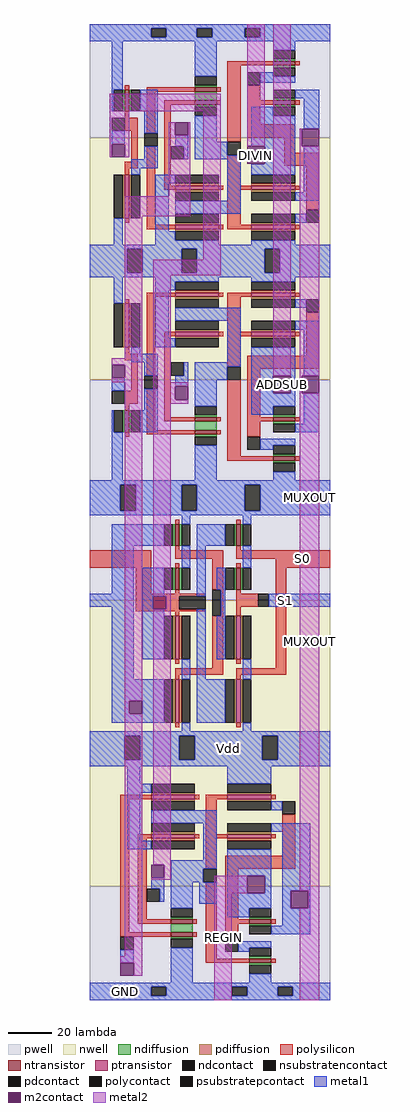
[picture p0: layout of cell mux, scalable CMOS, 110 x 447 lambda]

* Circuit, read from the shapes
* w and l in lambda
.subckt mux ADDSUB DIVIN GND MUXOUT REGIN S0 S1 Vdd
M1 n1 n2 GND GND nfet w=10 l=2
M2 n3 n4 GND GND nfet w=10 l=2
M3 n5 n2 GND GND nfet w=10 l=2
M4 n6 n4 n5 GND nfet w=10 l=2
M5 GND n7 n4 GND nfet w=10 l=2
M6 GND n8 n2 GND nfet w=10 l=2
M7 n9 n1 GND GND nfet w=10 l=2
M8 n10 n4 n9 GND nfet w=10 l=2
M9 n11 n2 n12 GND nfet w=10 l=2
M10 GND n3 n11 GND nfet w=10 l=2
M11 GND S1 n8 GND nfet w=10 l=2
M12 GND S0 n7 GND nfet w=10 l=2
M13 n13 n6 GND GND nfet w=10 l=2
M14 REGIN n13 MUXOUT GND nfet w=10 l=2
M15 n14 n10 GND GND nfet w=10 l=2
M16 ADDSUB n14 MUXOUT GND nfet w=10 l=2
M17 MUXOUT n15 DIVIN GND nfet w=10 l=2
M18 GND n12 n15 GND nfet w=10 l=2
M19 n1 n2 n16 n16 pfet w=20 l=2
M20 n3 n4 n16 n16 pfet w=20 l=2
M21 n6 n4 Vdd Vdd pfet w=20 l=2
M22 Vdd n2 n6 Vdd pfet w=20 l=2
M23 Vdd n8 n2 Vdd pfet w=20 l=2
M24 Vdd n7 n4 Vdd pfet w=20 l=2
M25 n10 n4 n16 n16 pfet w=20 l=2
M26 n16 n1 n10 n16 pfet w=20 l=2
M27 n12 n3 n16 n16 pfet w=20 l=2
M28 n16 n2 n12 n16 pfet w=20 l=2
M29 MUXOUT n6 REGIN Vdd pfet w=20 l=2
M30 Vdd n6 n13 Vdd pfet w=20 l=2
M31 Vdd S0 n7 Vdd pfet w=20 l=2
M32 Vdd S1 n8 Vdd pfet w=20 l=2
M33 MUXOUT n10 ADDSUB n16 pfet w=20 l=2
M34 n16 n10 n14 n16 pfet w=20 l=2
M35 n15 n12 n16 n16 pfet w=20 l=2
M36 DIVIN n12 MUXOUT n16 pfet w=20 l=2
.ends

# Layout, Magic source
magic
tech scmos
<< pwell >>
rect 0 395 110 447
rect 0 183 110 284
rect 0 0 110 52
<< nwell >>
rect 0 284 110 395
rect 0 52 110 183
<< polysilicon >>
rect 63 428 84 430
rect 94 428 96 430
rect 16 417 18 419
rect 26 416 48 418
rect 58 416 60 418
rect 16 404 18 407
rect 16 398 22 404
rect 19 384 22 398
rect 26 397 30 416
rect 34 410 48 412
rect 58 410 60 412
rect 16 381 22 384
rect 16 378 18 381
rect 16 356 18 358
rect 26 355 30 391
rect 34 373 37 410
rect 63 393 69 428
rect 72 412 78 419
rect 72 410 84 412
rect 94 410 96 412
rect 72 401 78 410
rect 72 395 94 401
rect 63 373 69 387
rect 89 388 94 395
rect 89 382 105 388
rect 34 371 39 373
rect 59 371 61 373
rect 63 371 74 373
rect 94 371 96 373
rect 63 355 69 371
rect 99 362 105 382
rect 26 353 39 355
rect 59 353 61 355
rect 63 353 74 355
rect 94 353 96 355
rect 26 322 39 324
rect 59 322 61 324
rect 63 322 74 324
rect 94 322 96 324
rect 16 319 18 321
rect 16 296 18 299
rect 16 293 22 296
rect 19 279 22 293
rect 26 286 30 322
rect 63 306 69 322
rect 34 304 39 306
rect 59 304 61 306
rect 63 304 74 306
rect 94 304 96 306
rect 16 273 22 279
rect 16 270 18 273
rect 26 261 30 280
rect 34 267 37 304
rect 63 290 69 304
rect 99 295 105 315
rect 34 265 48 267
rect 58 265 60 267
rect 16 258 18 260
rect 26 259 48 261
rect 58 259 60 261
rect 63 249 69 284
rect 72 289 105 295
rect 72 267 78 289
rect 72 265 84 267
rect 94 265 96 267
rect 72 258 78 265
rect 63 247 84 249
rect 94 247 96 249
rect 39 218 41 220
rect 67 218 69 220
rect 39 206 41 208
rect 67 206 69 208
rect 0 198 28 206
rect 39 202 61 206
rect 67 202 110 206
rect 39 198 41 200
rect 21 186 28 198
rect 56 188 61 202
rect 67 198 69 200
rect 85 198 110 202
rect 39 186 41 188
rect 21 185 53 186
rect 21 179 41 185
rect 21 178 53 179
rect 39 176 41 178
rect 60 176 61 188
rect 67 186 69 188
rect 67 180 77 186
rect 67 176 69 180
rect 39 154 41 156
rect 56 152 61 176
rect 67 154 69 156
rect 85 152 90 198
rect 39 149 61 152
rect 67 149 90 152
rect 39 147 41 149
rect 67 147 69 149
rect 39 125 41 127
rect 67 125 69 127
rect 14 92 28 94
rect 48 92 50 94
rect 53 92 63 94
rect 83 92 85 94
rect 14 31 18 92
rect 53 76 58 92
rect 22 74 28 76
rect 48 74 50 76
rect 53 74 63 76
rect 83 74 85 76
rect 22 37 26 74
rect 53 60 58 74
rect 88 66 94 85
rect 22 35 37 37
rect 47 35 49 37
rect 14 29 37 31
rect 47 29 49 31
rect 53 19 58 54
rect 62 60 94 66
rect 62 37 68 60
rect 62 35 73 37
rect 83 35 85 37
rect 62 28 68 35
rect 53 17 73 19
rect 83 17 85 19
<< ndiffusion >>
rect 84 430 94 431
rect 48 418 58 419
rect 15 407 16 417
rect 18 407 19 417
rect 48 412 58 416
rect 48 409 58 410
rect 84 427 94 428
rect 84 412 94 413
rect 84 409 94 410
rect 15 260 16 270
rect 18 260 19 270
rect 48 267 58 268
rect 48 261 58 265
rect 48 258 58 259
rect 84 267 94 268
rect 84 264 94 265
rect 84 249 94 250
rect 84 246 94 247
rect 38 208 39 218
rect 41 208 42 218
rect 66 208 67 218
rect 69 208 70 218
rect 38 188 39 198
rect 41 188 42 198
rect 66 188 67 198
rect 69 188 70 198
rect 37 37 47 38
rect 37 31 47 35
rect 37 28 47 29
rect 73 37 83 38
rect 73 34 83 35
rect 73 19 83 20
rect 73 16 83 17
<< pdiffusion >>
rect 15 358 16 378
rect 18 358 19 378
rect 39 373 59 374
rect 74 373 94 374
rect 39 370 59 371
rect 39 355 59 356
rect 74 370 94 371
rect 74 355 94 356
rect 39 352 59 353
rect 74 352 94 353
rect 39 324 59 325
rect 74 324 94 325
rect 15 299 16 319
rect 18 299 19 319
rect 39 321 59 322
rect 39 306 59 307
rect 74 321 94 322
rect 74 306 94 307
rect 39 303 59 304
rect 74 303 94 304
rect 38 156 39 176
rect 41 156 42 176
rect 66 156 67 176
rect 69 156 70 176
rect 38 127 39 147
rect 41 127 42 147
rect 66 127 67 147
rect 69 127 70 147
rect 28 94 48 95
rect 63 94 83 95
rect 28 91 48 92
rect 28 76 48 77
rect 63 91 83 92
rect 63 76 83 77
rect 28 73 48 74
rect 63 73 83 74
<< metal1 >>
rect 0 445 110 447
rect 0 441 28 445
rect 35 441 49 445
rect 56 441 71 445
rect 78 441 110 445
rect 0 439 110 441
rect 10 417 15 439
rect 48 423 58 439
rect 84 435 94 439
rect 78 423 84 425
rect 78 420 94 423
rect 10 407 11 417
rect 23 407 31 417
rect 94 413 105 417
rect 10 392 16 398
rect 25 397 31 407
rect 39 391 45 396
rect 25 385 31 391
rect 43 385 45 391
rect 48 393 58 405
rect 74 405 84 409
rect 48 387 63 393
rect 74 391 94 405
rect 98 399 105 413
rect 48 385 69 387
rect 19 381 31 385
rect 19 378 23 381
rect 30 374 39 378
rect 11 346 15 358
rect 30 352 36 374
rect 63 366 69 385
rect 80 383 94 391
rect 74 378 94 383
rect 98 370 105 391
rect 94 366 105 370
rect 39 360 69 366
rect 94 356 99 360
rect 30 348 39 352
rect 30 346 59 348
rect 74 346 94 348
rect 0 344 110 346
rect 0 333 17 344
rect 24 333 42 344
rect 49 333 80 344
rect 87 333 110 344
rect 0 331 110 333
rect 11 319 15 331
rect 30 329 59 331
rect 30 325 39 329
rect 74 329 94 331
rect 30 303 36 325
rect 94 317 99 321
rect 39 311 69 317
rect 30 299 39 303
rect 19 296 23 299
rect 19 292 31 296
rect 63 292 69 311
rect 94 307 105 311
rect 10 279 16 285
rect 25 286 31 292
rect 43 286 45 292
rect 25 270 31 280
rect 39 281 45 286
rect 48 290 69 292
rect 48 284 63 290
rect 74 286 94 299
rect 98 286 105 307
rect 10 260 11 270
rect 23 260 31 270
rect 48 272 58 284
rect 74 278 84 286
rect 92 278 94 286
rect 74 272 94 278
rect 74 268 84 272
rect 98 264 105 278
rect 94 260 105 264
rect 10 238 15 260
rect 48 238 58 254
rect 78 254 94 257
rect 78 252 84 254
rect 84 238 94 242
rect 0 236 110 238
rect 0 224 14 236
rect 21 224 42 236
rect 49 224 71 236
rect 78 224 110 236
rect 0 222 110 224
rect 42 218 46 222
rect 70 218 74 222
rect 10 208 34 218
rect 10 186 20 208
rect 42 198 46 208
rect 0 180 20 186
rect 10 147 20 180
rect 24 185 34 198
rect 49 208 62 218
rect 49 185 53 208
rect 70 198 74 208
rect 58 188 62 198
rect 24 179 29 185
rect 24 156 34 179
rect 42 147 46 156
rect 10 137 34 147
rect 10 131 18 137
rect 24 131 34 137
rect 10 127 34 131
rect 49 147 53 179
rect 60 176 62 188
rect 82 180 110 186
rect 58 156 62 176
rect 70 147 74 156
rect 49 127 62 147
rect 42 123 46 127
rect 70 123 74 127
rect 0 121 110 123
rect 0 110 16 121
rect 23 110 41 121
rect 48 110 79 121
rect 86 110 110 121
rect 0 107 110 110
rect 17 99 23 107
rect 63 99 83 107
rect 17 95 28 99
rect 17 73 23 95
rect 83 87 88 91
rect 28 81 58 87
rect 17 69 28 73
rect 52 64 58 81
rect 83 77 101 81
rect 28 51 34 56
rect 32 45 34 51
rect 37 60 58 64
rect 37 54 52 60
rect 37 42 47 54
rect 50 44 58 54
rect 63 57 83 69
rect 63 49 72 57
rect 80 49 83 57
rect 63 42 83 49
rect 63 38 73 42
rect 88 50 101 77
rect 88 42 92 50
rect 100 42 101 50
rect 88 34 101 42
rect 83 30 101 34
rect 14 17 20 23
rect 37 8 47 24
rect 68 24 83 27
rect 68 22 73 24
rect 73 8 83 12
rect 0 6 110 8
rect 0 2 28 6
rect 35 2 65 6
rect 72 2 86 6
rect 93 2 110 6
rect 0 0 110 2
<< metal2 >>
rect 9 407 60 415
rect 9 392 18 407
rect 9 386 10 392
rect 16 386 18 392
rect 36 396 39 402
rect 45 396 46 402
rect 36 368 46 396
rect 16 359 46 368
rect 16 294 24 359
rect 52 339 60 407
rect 72 391 80 447
rect 10 291 24 294
rect 16 285 24 291
rect 10 283 24 285
rect 16 137 24 283
rect 16 131 18 137
rect 16 20 24 131
rect 29 332 60 339
rect 29 283 37 332
rect 84 286 92 447
rect 29 281 45 283
rect 29 275 39 281
rect 96 391 97 399
rect 96 286 105 391
rect 96 278 97 286
rect 29 273 45 275
rect 29 185 37 273
rect 35 179 37 185
rect 29 62 37 179
rect 34 56 37 62
rect 28 55 37 56
rect 14 17 24 20
rect 20 11 24 17
rect 57 49 72 57
rect 96 50 105 278
rect 57 0 65 49
rect 100 42 105 50
rect 96 0 105 42
<< ntransistor >>
rect 84 428 94 430
rect 16 407 18 417
rect 48 416 58 418
rect 48 410 58 412
rect 84 410 94 412
rect 16 260 18 270
rect 48 265 58 267
rect 48 259 58 261
rect 84 265 94 267
rect 84 247 94 249
rect 39 208 41 218
rect 67 208 69 218
rect 39 188 41 198
rect 67 188 69 198
rect 37 35 47 37
rect 37 29 47 31
rect 73 35 83 37
rect 73 17 83 19
<< ptransistor >>
rect 16 358 18 378
rect 39 371 59 373
rect 74 371 94 373
rect 39 353 59 355
rect 74 353 94 355
rect 39 322 59 324
rect 74 322 94 324
rect 16 299 18 319
rect 39 304 59 306
rect 74 304 94 306
rect 39 156 41 176
rect 67 156 69 176
rect 39 127 41 147
rect 67 127 69 147
rect 28 92 48 94
rect 63 92 83 94
rect 28 74 48 76
rect 63 74 83 76
<< polycontact >>
rect 10 398 16 404
rect 25 391 31 397
rect 72 419 78 425
rect 37 385 43 391
rect 63 387 69 393
rect 99 356 105 362
rect 99 315 105 321
rect 25 280 31 286
rect 10 273 16 279
rect 37 286 43 292
rect 63 284 69 290
rect 72 252 78 258
rect 41 179 53 185
rect 56 176 60 188
rect 77 180 82 186
rect 88 85 94 91
rect 52 54 58 60
rect 26 45 32 51
rect 14 23 20 29
rect 62 22 68 28
<< ndcontact >>
rect 84 431 94 435
rect 48 419 58 423
rect 11 407 15 417
rect 19 407 23 417
rect 48 405 58 409
rect 84 423 94 427
rect 84 413 94 417
rect 84 405 94 409
rect 11 260 15 270
rect 19 260 23 270
rect 48 268 58 272
rect 48 254 58 258
rect 84 268 94 272
rect 84 260 94 264
rect 84 250 94 254
rect 84 242 94 246
rect 34 208 38 218
rect 42 208 46 218
rect 62 208 66 218
rect 70 208 74 218
rect 34 188 38 198
rect 42 188 46 198
rect 62 188 66 198
rect 70 188 74 198
rect 37 38 47 42
rect 37 24 47 28
rect 73 38 83 42
rect 73 30 83 34
rect 73 20 83 24
rect 73 12 83 16
<< pdcontact >>
rect 11 358 15 378
rect 19 358 23 378
rect 39 374 59 378
rect 74 374 94 378
rect 39 366 59 370
rect 39 356 59 360
rect 74 366 94 370
rect 74 356 94 360
rect 39 348 59 352
rect 74 348 94 352
rect 39 325 59 329
rect 74 325 94 329
rect 11 299 15 319
rect 19 299 23 319
rect 39 317 59 321
rect 39 307 59 311
rect 74 317 94 321
rect 74 307 94 311
rect 39 299 59 303
rect 74 299 94 303
rect 34 156 38 176
rect 42 156 46 176
rect 62 156 66 176
rect 70 156 74 176
rect 34 127 38 147
rect 42 127 46 147
rect 62 127 66 147
rect 70 127 74 147
rect 28 95 48 99
rect 63 95 83 99
rect 28 87 48 91
rect 28 77 48 81
rect 63 87 83 91
rect 63 77 83 81
rect 28 69 48 73
rect 63 69 83 73
<< m2contact >>
rect 10 386 16 392
rect 39 396 45 402
rect 97 391 105 399
rect 72 383 80 391
rect 10 285 16 291
rect 39 275 45 281
rect 84 278 92 286
rect 97 278 105 286
rect 29 179 35 185
rect 18 131 24 137
rect 28 56 34 62
rect 72 49 80 57
rect 92 42 100 50
rect 14 11 20 17
<< psubstratepcontact >>
rect 28 441 35 445
rect 49 441 56 445
rect 71 441 78 445
rect 14 224 21 236
rect 42 224 49 236
rect 71 224 78 236
rect 28 2 35 6
rect 65 2 72 6
rect 86 2 93 6
<< nsubstratencontact >>
rect 17 333 24 344
rect 42 333 49 344
rect 80 333 87 344
rect 16 110 23 121
rect 41 110 48 121
rect 79 110 86 121
<< labels >>
rlabel metal1 82 181 97 185 0 S1
rlabel polysilicon 90 198 105 206 0 S0
rlabel metal2 96 115 105 345 0 MUXOUT
rlabel metal2 57 0 65 57 0 REGIN
rlabel metal2 96 50 105 278 0 MUXOUT
rlabel m2contact 84 278 92 286 0 ADDSUB
rlabel m2contact 72 383 80 391 0 DIVIN
rlabel metal1 5 0 28 8 0 GND
rlabel metal1 48 107 79 123 0 Vdd
<< end >>
